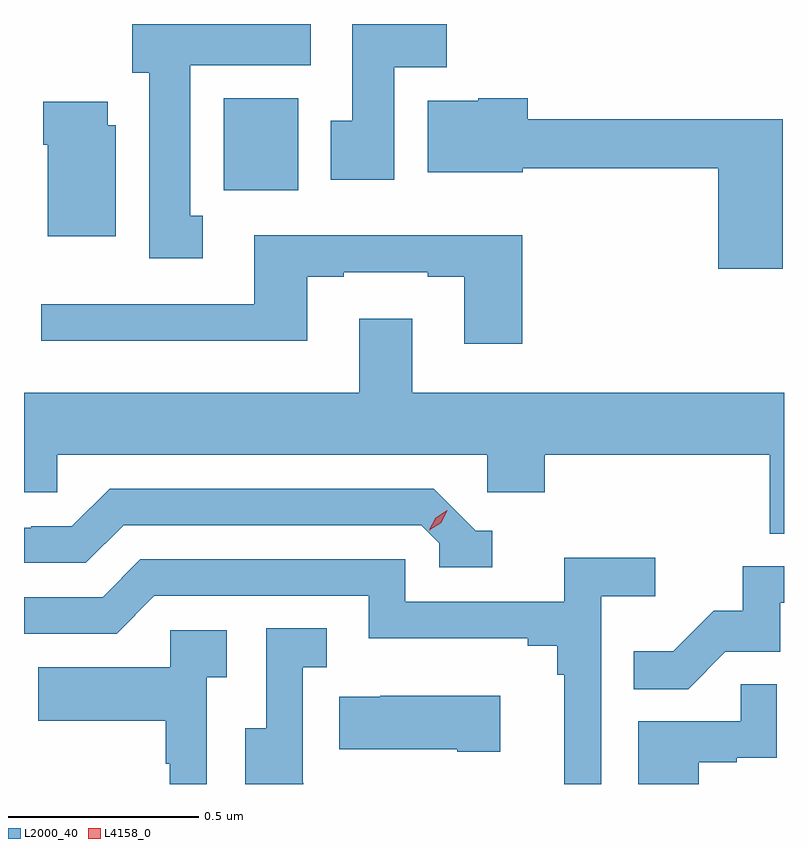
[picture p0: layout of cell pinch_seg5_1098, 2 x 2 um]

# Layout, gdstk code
import gdstk
lib = gdstk.Library(unit=1e-6, precision=1e-09)
def R(c, l, rs):  # rectangles x0, y0, x1, y1
    for r in rs: c.add(gdstk.rectangle(r[:2], r[2:], *l))
def P(c, l, *ps):  # polygons
    for p in ps: c.add(gdstk.Polygon(p, *l))
L2000_40 = (2000, 40)
L4158_0 = (4158, 0)

pinch_seg5_1098 = lib.new_cell('pinch_seg5_1098')
R(pinch_seg5_1098, L2000_40, [(844.682,866.78,844.879,867.022)])
P(pinch_seg5_1098, L2000_40, [(845.131,867.104),(845.27,867.104),(845.27,867.218),(845.021,867.218),(845.021,866.964),(844.964,866.964),(844.964,866.808),(845.131,866.808)],
  [(844.627,866.714),(844.594,866.714),(844.594,867.11),(844.912,867.11),(844.912,867.218),(844.442,867.218),(844.442,867.09),(844.487,867.09),(844.487,866.601),(844.627,866.601)],
  [(846.154,866.968),(845.483,866.968),(845.483,867.022),(845.352,867.022),(845.352,867.016),(845.219,867.016),(845.219,866.828),(845.47,866.828),(845.47,866.839),(845.984,866.839),(845.984,866.574),(846.154,866.574)],
  [(844.399,866.952),(844.378,866.952),(844.378,867.013),(844.208,867.013),(844.208,866.9),(844.22,866.9),(844.22,866.66),(844.399,866.66)],
  [(845.468,866.662),(844.763,866.662),(844.763,866.481),(844.203,866.481),(844.203,866.384),(844.903,866.384),(844.903,866.553),(844.999,866.553),(844.999,866.565),(845.219,866.565),(845.219,866.553),(845.315,866.553),(845.315,866.376),(845.468,866.376)],
  [(846.157,866.248),(845.179,866.248),(845.179,866.443),(845.039,866.443),(845.039,866.248),(844.157,866.248),(844.157,865.986),(844.245,865.986),(844.245,866.084),(845.376,866.084),(845.376,865.986),(845.528,865.986),(845.528,866.084),(846.119,866.084),(846.119,865.876),(846.157,865.876)],
  [(845.389,865.884),(845.346,865.884),(845.235,865.995),(844.382,865.995),(844.283,865.896),(844.176,865.896),(844.176,865.893),(844.157,865.893),(844.157,865.8),(844.32,865.8),(844.419,865.899),(845.202,865.899),(845.25,865.851),(845.25,865.788),(845.389,865.788)],
  [(845.676,865.712),(845.818,865.712),(845.818,865.814),(845.579,865.814),(845.579,865.698),(845.16,865.698),(845.16,865.809),(844.463,865.809),(844.364,865.71),(844.157,865.71),(844.157,865.614),(844.401,865.614),(844.5,865.713),(845.064,865.713),(845.064,865.601),(845.483,865.601),(845.483,865.582),(845.56,865.582),(845.56,865.505),(845.579,865.505),(845.579,865.218),(845.676,865.218)],
  [(846.003,865.566),(846.147,865.566),(846.147,865.695),(846.157,865.695),(846.157,865.791),(846.049,865.791),(846.049,865.674),(845.972,865.674),(845.865,865.567),(845.761,865.567),(845.761,865.468),(845.905,865.468)],
  [(844.892,865.221),(844.89,865.221),(844.89,865.525),(844.954,865.525),(844.954,865.628),(844.794,865.628),(844.794,865.365),(844.739,865.365),(844.739,865.218),(844.892,865.218)],
  [(844.638,865.499),(844.69,865.499),(844.69,865.623),(844.542,865.623),(844.542,865.525),(844.195,865.525),(844.195,865.385),(844.53,865.385),(844.53,865.271),(844.54,865.271),(844.54,865.218),(844.638,865.218)],
  [(845.932,865.275),(846.032,865.275),(846.032,865.287),(846.138,865.287),(846.138,865.481),(846.043,865.481),(846.043,865.383),(845.774,865.383),(845.774,865.218),(845.932,865.218)],
  [(845.41,865.45),(845.095,865.45),(845.095,865.447),(844.987,865.447),(844.987,865.31),(845.297,865.31),(845.297,865.303),(845.41,865.303)])
P(pinch_seg5_1098, L4158_0, [(845.224,865.886),(845.224,865.887),(845.24,865.919),(845.271,865.939),(845.271,865.939),(845.271,865.938),(845.255,865.906),(845.224,865.886)])

lib.write_gds('pinch_seg5_1098.gds')
